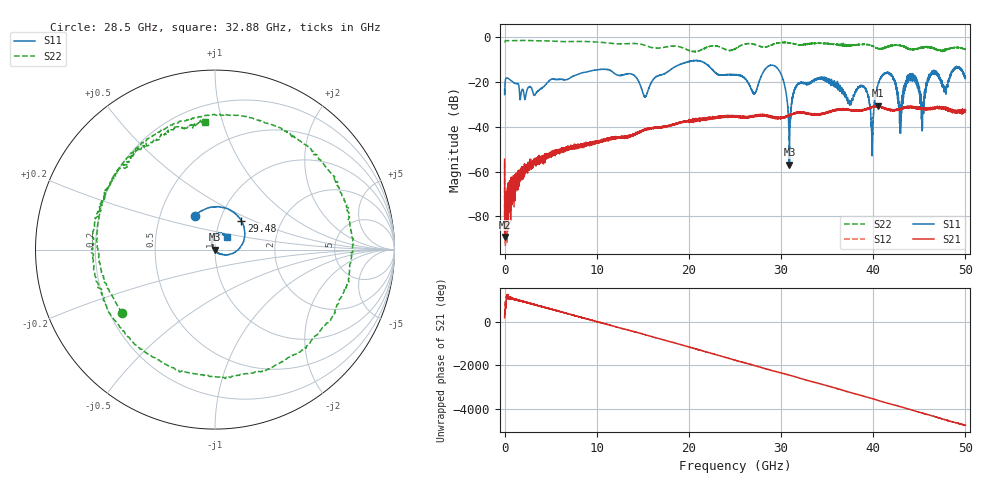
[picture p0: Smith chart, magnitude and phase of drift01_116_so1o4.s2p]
!Created with skrf (http://scikit-rf.org).
# Hz S RI R 50.0
!freq ReS11 ImS11 ReS21 ImS21 ReS12 ImS12 ReS22 ImS22
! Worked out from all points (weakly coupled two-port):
!   10001 points, 300 kHz to 50 GHz, reference 50 ohm
!   highest |S21| = -30.51 dB at 40.53 GHz (marker M1); lowest = -89.2 dB at 70.3 MHz (marker M2)
!   lowest |S11| = -56.9 dB at 30.91 GHz (marker M3), VSWR 1.00, Z = 50.1 - j0.0928 ohm
!   |S11| at or under -10 dB: start of sweep to end of sweep
!   |S22| runs from -6.4 to -1.4 dB; largest |S21 - S12| = 0.0032
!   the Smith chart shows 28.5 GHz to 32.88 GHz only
!   S11 on the Smith chart (normalised r, x): 28.5 GHz: 0.75, +0.30; 29.48 GHz: 1.26, +0.42; 32.88 GHz: 1.13, +0.15
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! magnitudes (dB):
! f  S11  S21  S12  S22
! 300 kHz  -23.3  -54.5  -56.1  -2.1
! 70.3 MHz  -19.6  -89.2  -85.1  -1.5
! 8.335 GHz  -16.0  -48.0  -48.4  -1.8
! 15.24 GHz  -26.5  -41.3  -41.3  -3.6
! 16.67 GHz  -17.1  -40.6  -40.2  -4.8
! 25 GHz  -16.6  -35.8  -35.6  -5.1
! 27.1 GHz  -25.3  -35.1  -35.1  -3.1
! 28.5 GHz  -13.2  -35.3  -35.1  -4.1
! 29.48 GHz  -13.3  -35.7  -36.0  -2.6
! 30.91 GHz  -56.9  -35.2  -34.9  -2.5
! 31.61 GHz  -22.1  -33.9  -33.9  -3.0
! 32.88 GHz  -20.4  -34.1  -34.1  -2.9
! 33.34 GHz  -19.8  -34.5  -34.3  -2.6
! 38.92 GHz  -22.3  -32.5  -32.4  -3.0
! 39.86 GHz  -45.0  -31.2  -31.2  -3.6
! 40.53 GHz  -20.9  -30.5  -30.8  -5.1
! 41.67 GHz  -16.0  -31.9  -32.4  -4.1
! 42.95 GHz  -33.2  -32.0  -31.9  -3.6
! 44.05 GHz  -17.3  -31.1  -30.9  -5.3
! 45.31 GHz  -41.8  -32.0  -32.1  -4.3
! 46.42 GHz  -15.3  -31.9  -31.6  -4.8
! 50 GHz  -17.7  -32.5  -33.0  -5.3
